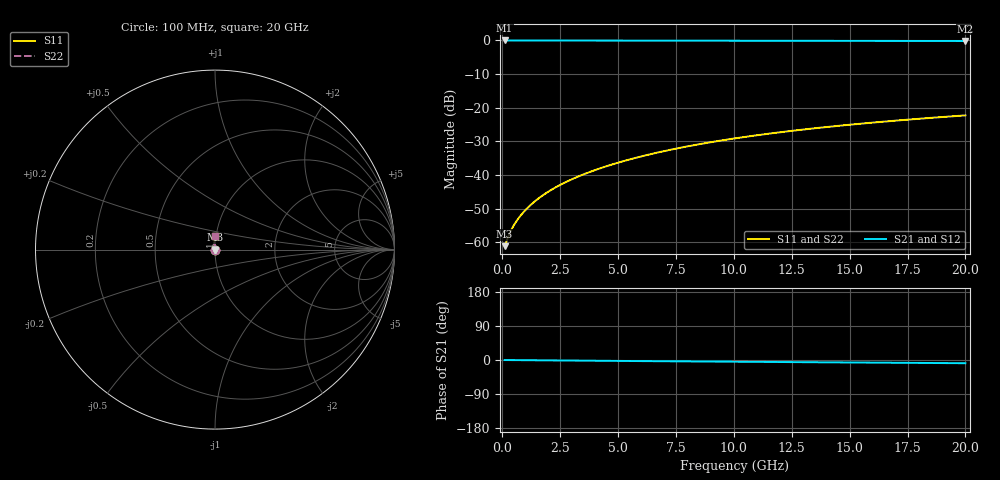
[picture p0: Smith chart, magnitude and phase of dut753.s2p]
! Touchstone file exported from HFSS 2024.1.0
!  File:  C:/UserFiles/LocalFiles/RDL_TSV_Batchsim/temp_RDL_top_753_1779851929.aedt
!  Generated:  11:20:43 AM May 27, 2026
!  Design:  RDL_top
!  Project:  temp_RDL_top_753_1779851929
!  Setup:  Setup1
!  Solution:  Sweep
! Variables:
!  dtsv = 10.80580581um
!  hbump = 3um
!  htsv = 78.49um
!  ldown = 100um
!  lrdl = 111.74um
!  p = 40
!  p1 = 44.17um
!  rhole = 1um
!  t = 450um
!  tdown = 3.915915916um
!  trdl = 2.87um
!  wdown = 15.38538539um
!  wrdl = 29.43um
# GHz S MA R 50.000000
! Terminal data exported
! Port[1] = Box2_T1
! Port[2] = Box2_T2
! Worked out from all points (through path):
!   200 points, 100 MHz to 20 GHz, reference 50 ohm
!   highest |S21| = -0.01 dB at 100 MHz (marker M1); lowest = -0.2 dB at 20 GHz (marker M2)
!   group delay of S21, straight-line fit = 1.16 ps
!   lowest |S11| = -61.2 dB at 100 MHz (marker M3), VSWR 1.00, Z = 50.1 + j0.0345 ohm
!   |S11| at or under -10 dB: start of sweep to end of sweep
!   |S22| runs from -61.2 to -22.3 dB; largest |S21 - S12| = 3.1e-15
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0.1  0.0008719 23.3  0.9992 -0.1  0.9992 -0.1  0.0008719 23.3
! Gamma 0 0 0 0
! Port Impedance 50 0 50 0
0.3  0.001309 47.7  0.9991 -0.2  0.9991 -0.2  0.001309 47.7
0.4  0.001549 53.7  0.999 -0.2  0.999 -0.2  0.001549 53.7
0.5  0.001787 58.3  0.999 -0.3  0.999 -0.3  0.001787 58.3
0.6  0.002025 61.9  0.9989 -0.3  0.9989 -0.3  0.002025 61.9
0.8  0.002508 67.6  0.9988 -0.4  0.9988 -0.4  0.002508 67.6
1  0.003003 71.9  0.9988 -0.5  0.9988 -0.5  0.003003 71.9
1.2  0.003513 75.3  0.9987 -0.6  0.9987 -0.6  0.003513 75.3
1.7  0.004842 81.2  0.9984 -0.9  0.9984 -0.9  0.004842 81.2
2.2  0.006238 85.0  0.9981 -1.1  0.9981 -1.1  0.006238 85.0
2.8  0.007998 88.3  0.9976 -1.4  0.9976 -1.4  0.007998 88.3
3.5  0.01017 91.0  0.9969 -1.7  0.9969 -1.7  0.01017 91.0
4.2  0.01245 92.8  0.9962 -2.1  0.9962 -2.1  0.01245 92.8
5  0.01521 94.3  0.9952 -2.4  0.9952 -2.4  0.01521 94.3
5.9  0.01847 95.3  0.9941 -2.8  0.9941 -2.8  0.01847 95.3
6.8  0.02188 95.8  0.993 -3.2  0.993 -3.2  0.02187 95.8
8.4  0.0282 95.9  0.991 -3.9  0.991 -3.9  0.0282 95.9
10.1  0.03517 95.4  0.9891 -4.6  0.9891 -4.6  0.03517 95.4
11.7  0.04186 94.6  0.9873 -5.2  0.9873 -5.2  0.04186 94.6
13.4  0.04903 93.5  0.9857 -5.9  0.9857 -5.9  0.04903 93.5
16.7  0.06297 91.4  0.9828 -7.2  0.9828 -7.2  0.06297 91.4
20  0.07682 89.2  0.9803 -8.5  0.9803 -8.5  0.07681 89.2
